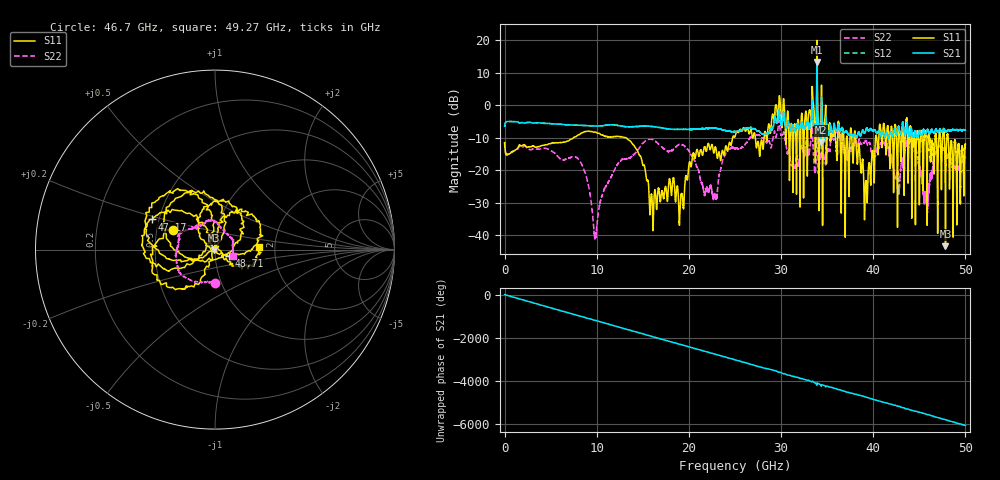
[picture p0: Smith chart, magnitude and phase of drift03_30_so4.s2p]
!Created with skrf (http://scikit-rf.org).
# Hz S RI R 50.0
!freq ReS11 ImS11 ReS21 ImS21 ReS12 ImS12 ReS22 ImS22
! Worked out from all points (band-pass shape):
!   10001 points, 300 kHz to 50 GHz, reference 50 ohm
!   highest |S21| = 13.24 dB at 33.9 GHz (marker M1); lowest = -11.5 dB at 34.32 GHz (marker M2)
!   |S21| within 3 dB of the highest: 33.89021 GHz to 33.90465 GHz (14.44 MHz wide, 0.0426 % of centre)
!   lowest |S11| = -43.4 dB at 47.84 GHz (marker M3), VSWR 1.01, Z = 49.5 - j0.395 ohm
!   |S11| at or under -10 dB: start of sweep to 7.488 GHz; 13.13 GHz to 24.74 GHz (11.61 GHz wide, 61.3 % of centre); 38.09 GHz to 40.26 GHz (2.165 GHz wide, 5.53 % of centre) (the widest 3 of 47)
!   |S22| runs from -41.3 to 5.7 dB; largest |S21 - S12| = 0.34
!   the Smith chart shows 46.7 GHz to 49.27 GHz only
!   S11 on the Smith chart (normalised r, x): 46.7 GHz: 0.61, +0.15; 47.17 GHz: 0.46, +0.18; 48.71 GHz: 1.16, -0.08; 49.27 GHz: 1.66, +0.06
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300000  -0.2362 -0.118  0.4675 0.0783  0.4658 0.0802  -0.236 -0.1257
1.440291e9  0.2101 0.0647  -0.5478 -0.0292  -0.5482 -0.0293  0.2112 -0.00414
2.915283e9  -0.2121 -0.0881  0.5341 0.0512  0.5342 0.0516  -0.2023 0.0402
4.415274e9  0.2059 0.1321  -0.5221 -0.0418  -0.522 -0.0422  0.1982 -0.0872
8.33525e9  0.2885 -0.2338  0.1468 0.466  0.1465 0.4659  -0.0731 -0.1011
9.845241e9  -0.3635 0.129  -0.1482 -0.4522  -0.1485 -0.4523  0.0087 0.0022
1.66702e10  0.0278 0.0441  -0.3783 0.254  -0.3785 0.2536  -0.1272 -0.2193
2.500015e10  -0.326 -0.0149  -0.2551 -0.2958  -0.2541 -0.2984  -0.2138 0.0264
2.895513e10  -0.3251 0.432  -0.2879 0.3263  -0.2977 0.292  0.0658 0.2229
3.006512e10  0.3996 0.2667  0.4498 -0.1972  0.4535 -0.1827  0.173 -0.2975
3.171011e10  -0.0895 0.1892  -0.3597 0.3558  -0.3607 0.3551  0.0649 0.1583
3.33351e10  0.6201 -0.8217  0.2455 -0.8444  0.2479 -0.822  -0.1909 -0.419
3.38951e10  -2.592 -9.538  -4.513 0.8599  -4.22 1.027  0.5258 1.846
3.432009e10  -0.78 -0.000374  -0.1794 0.1985  -0.2408 0.1778  0.1425 -0.0712
3.919506e10  0.0667 0.0144  0.203 -0.3582  0.2081 -0.351  -0.2697 -0.12
4.167005e10  -0.1973 0.3046  0.3128 0.00498  0.3136 0.0131  -0.1998 -0.0107
4.669502e10  -0.2356 0.1117  -0.1213 0.3682  -0.1257 0.3718  0.00105 -0.1871
4.716502e10  -0.351 0.1683  0.2617 0.3197  0.2574 0.3204  -0.1949 -0.1285
4.784001e10  -0.00543 -0.00399  0.3546 -0.1707  0.3544 -0.1681  -0.1626 0.1081
4.870501e10  0.0775 -0.0349  -0.2832 -0.3054  -0.2837 -0.3065  0.0856 0.067
4.9265e10  0.2478 0.0166  -0.3832 0.153  -0.3785 0.1506  0.1003 -0.0355
5e10  -0.1189 -0.2178  0.1439 0.3854  0.1421 0.3842  -0.0565 -0.1441
